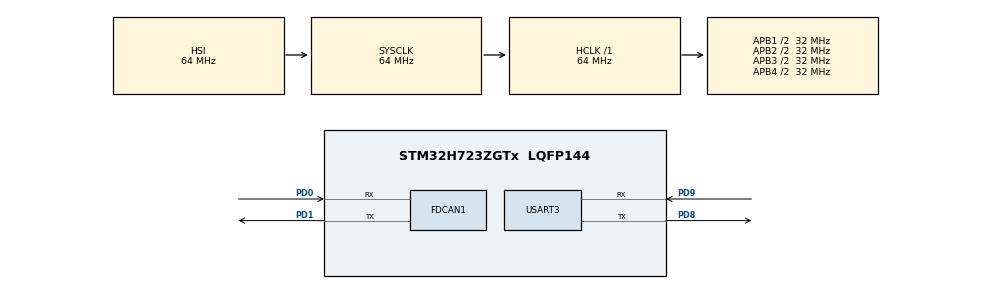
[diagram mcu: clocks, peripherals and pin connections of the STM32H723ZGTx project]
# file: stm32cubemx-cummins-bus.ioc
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Mcu.Family=STM32H7
Mcu.Name=STM32H723ZGTx
Mcu.Package=LQFP144
NVIC.FDCAN1_IT0_IRQn=true\:0\:0\:false\:false\:true\:true\:true
NVIC.PriorityGroup=NVIC_PRIORITYGROUP_4
PD0.Mode=FDCAN_Activate
PD0.Signal=FDCAN1_RX
PD1.Mode=FDCAN_Activate
PD1.Signal=FDCAN1_TX
PD8.Mode=Asynchronous
PD8.Signal=USART3_TX
PD9.Mode=Asynchronous
PD9.Signal=USART3_RX
ProjectManager.HeapSize=0x200
ProjectManager.StackSize=0x400
ProjectManager.TargetToolchain=STM32CubeIDE
RCC.ADCFreq_Value=129000000
RCC.APB1Freq_Value=32000000
RCC.APB2Freq_Value=32000000
RCC.APB3Freq_Value=32000000
RCC.APB4Freq_Value=32000000
RCC.CortexFreq_Value=64000000
RCC.D1PPRE=RCC_APB3_DIV2
RCC.D2PPRE1=RCC_APB1_DIV2
RCC.D2PPRE2=RCC_APB2_DIV2
RCC.D3PPRE=RCC_APB4_DIV2
RCC.DIVM1=4
RCC.DIVN1=12
RCC.DIVQ1=4
RCC.HCLKFreq_Value=64000000
RCC.PLLFRACN=0
RCC.SYSCLKFreq_VALUE=64000000
RCC.USBFreq_Value=48000000
USART3.VirtualMode-Asynchronous=VM_ASYNC
board=custom

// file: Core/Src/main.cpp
/* USER CODE BEGIN Header */
/**
  ******************************************************************************
  * @file           : main.c
  * @brief          : Main program body
  ******************************************************************************
  * @attention
  *
  * Copyright (c) 2021 STMicroelectronics.
  * All rights reserved.
  *
  * This software is licensed under terms that can be found in the LICENSE file
  * in the root directory of this software component.
  * If no LICENSE file comes with this software, it is provided AS-IS.
  *
  ******************************************************************************
  */
/* USER CODE END Header */
#include "main.h"

/* USER CODE BEGIN Includes */
#include "../Inc/display/Console.h"
#include "../Inc/data/CanMessage.h"
#include <string>
#include <iostream>
#include <sstream>
/* USER CODE END Includes */

FDCAN_HandleTypeDef hfdcan1;
UART_HandleTypeDef huart3;

/* USER CODE BEGIN PV */

FDCAN_RxHeaderTypeDef RxHeader;
uint8_t RxData[16];

CanMessage tempMessage(0x7E8);
/* USER CODE END PV */

void SystemClock_Config(void);
static void MX_GPIO_Init(void);
static void MX_USART3_UART_Init(void);
static void MX_FDCAN1_Init(void);

int main(void)
{

  /* MCU Configuration--------------------------------------------------------*/

  /* Reset of all peripherals, Initializes the Flash interface and the Systick. */
  HAL_Init();

  /* Configure the system clock */
  SystemClock_Config();

  /* Initialize all configured peripherals */
  MX_GPIO_Init();
  MX_USART3_UART_Init();
  MX_FDCAN1_Init();
  /* USER CODE BEGIN 2 */
  if (HAL_FDCAN_ActivateNotification(&hfdcan1, FDCAN_IT_RX_FIFO0_NEW_MESSAGE, 0) != HAL_OK) {
      Error_Handler();
  }
    /* Start the FDCAN module on both FDCAN instances */
    if (HAL_FDCAN_Start(&hfdcan1) != HAL_OK)
    {
        Error_Handler();
    }
  /* USER CODE END 2 */

  /* Infinite loop */
  /* USER CODE BEGIN WHILE */
//  Console::consoleUart = huart3;
    Console::setUart(huart3);
    long long count = 0;
    auto startTime = HAL_GetTick();
    uint32_t currentTime;
#pragma clang diagnostic push
#pragma ide diagnostic ignored "EndlessLoop"
  while (true)
  {
      currentTime = HAL_GetTick();
      count++;
      if (count % 1000000 == 0) {
          Console::logln("Hi: " + std::to_string(count / (currentTime - startTime)));

          std::ostringstream sstream;
          std::string str;
          for (int i: RxData) {
              str += std::to_string(i);
              str += " ";

              sstream << "0x" << std::hex << i << " ";
          }
          Console::logln(str);
          std::string IdTypeString = RxHeader.IdType == FDCAN_STANDARD_ID ? "Standard ID" : "Extended ID";
          Console::log(IdTypeString + " ");
          std::string IdFrameTypeString = RxHeader.RxFrameType == FDCAN_DATA_FRAME ? "Data Frame" : "Remote Request Frame";
          Console::log(IdFrameTypeString + " ");
          std::string IdFrameFormatString = RxHeader.FDFormat == FDCAN_DATA_FRAME ? "Classic CAN" : "FD CAN";
          Console::log(IdFrameFormatString + " ");
          Console::logln(sstream.str());

          Console::log(tempMessage.canId.to_int_string());
          Console::log(" ");
          Console::log(tempMessage.canId.to_hex_string());
          Console::log(" ");
          Console::logln(sstream.str());
      }
//      HAL_Delay(500);
//      HAL_UART_Transmit(&huart3, uint8_t [50, 60], 3, 100);
    /* USER CODE END WHILE */

    /* USER CODE BEGIN 3 */
  }
#pragma clang diagnostic pop
  /* USER CODE END 3 */
}

/**
  * @brief  Rx FIFO 0 callback.
  * @param  hfdcan pointer to an FDCAN_HandleTypeDef structure that contains
  *         the configuration information for the specified FDCAN.
  * @param  RxFifo0ITs indicates which Rx FIFO 0 interrupts are signaled.
  *         This parameter can be any combination of @arg FDCAN_Rx_Fifo0_Interrupts.
  * @retval None
  */
void HAL_FDCAN_RxFifo0Callback(FDCAN_HandleTypeDef *hfdcan, uint32_t RxFifo0ITs)
{
    if((RxFifo0ITs & FDCAN_IT_RX_FIFO0_NEW_MESSAGE) != 0)
    {
        /* Retrieve Rx messages from RX FIFO0 */
        if (HAL_FDCAN_GetRxMessage(hfdcan, FDCAN_RX_FIFO0, &RxHeader, RxData) != HAL_OK)
        {
            Error_Handler();
        }

        std::string str;
        for (int i: RxData) {
            str += std::to_string(i);
            str += " ";
        }
        Console::logln(str);
    }
}

void SystemClock_Config(void)
{
    RCC_OscInitTypeDef RCC_OscInitStruct = {0};
    RCC_ClkInitTypeDef RCC_ClkInitStruct = {0};

    /** Supply configuration update enable
    */
    HAL_PWREx_ConfigSupply(PWR_LDO_SUPPLY);
    /** Configure the main internal regulator output voltage
    */
    __HAL_PWR_VOLTAGESCALING_CONFIG(PWR_REGULATOR_VOLTAGE_SCALE3);

    while(!__HAL_PWR_GET_FLAG(PWR_FLAG_VOSRDY)) {}
    /** Initializes the RCC Oscillators according to the specified parameters
    * in the RCC_OscInitTypeDef structure.
    */
    RCC_OscInitStruct.OscillatorType = RCC_OSCILLATORTYPE_HSI;
    RCC_OscInitStruct.HSIState = RCC_HSI_DIV1;
    RCC_OscInitStruct.HSICalibrationValue = RCC_HSICALIBRATION_DEFAULT;
    RCC_OscInitStruct.PLL.PLLState = RCC_PLL_ON;
    RCC_OscInitStruct.PLL.PLLSource = RCC_PLLSOURCE_HSI;
    RCC_OscInitStruct.PLL.PLLM = 4;
    RCC_OscInitStruct.PLL.PLLN = 12;
    RCC_OscInitStruct.PLL.PLLP = 2;
    RCC_OscInitStruct.PLL.PLLQ = 4;
    RCC_OscInitStruct.PLL.PLLR = 2;
    RCC_OscInitStruct.PLL.PLLRGE = RCC_PLL1VCIRANGE_3;
    RCC_OscInitStruct.PLL.PLLVCOSEL = RCC_PLL1VCOWIDE;
    RCC_OscInitStruct.PLL.PLLFRACN = 0;
    if (HAL_RCC_OscConfig(&RCC_OscInitStruct) != HAL_OK)
    {
        Error_Handler();
    }
    /** Initializes the CPU, AHB and APB buses clocks
    */
    RCC_ClkInitStruct.ClockType = RCC_CLOCKTYPE_HCLK|RCC_CLOCKTYPE_SYSCLK
                                  |RCC_CLOCKTYPE_PCLK1|RCC_CLOCKTYPE_PCLK2
                                  |RCC_CLOCKTYPE_D3PCLK1|RCC_CLOCKTYPE_D1PCLK1;
    RCC_ClkInitStruct.SYSCLKSource = RCC_SYSCLKSOURCE_HSI;
    RCC_ClkInitStruct.SYSCLKDivider = RCC_SYSCLK_DIV1;
    RCC_ClkInitStruct.AHBCLKDivider = RCC_HCLK_DIV1;
    RCC_ClkInitStruct.APB3CLKDivider = RCC_APB3_DIV2;
    RCC_ClkInitStruct.APB1CLKDivider = RCC_APB1_DIV2;
    RCC_ClkInitStruct.APB2CLKDivider = RCC_APB2_DIV2;
    RCC_ClkInitStruct.APB4CLKDivider = RCC_APB4_DIV2;

    if (HAL_RCC_ClockConfig(&RCC_ClkInitStruct, FLASH_LATENCY_1) != HAL_OK)
    {
        Error_Handler();
    }
}

static void MX_FDCAN1_Init(void)
{

    hfdcan1.Instance = FDCAN1;
    hfdcan1.Init.FrameFormat = FDCAN_FRAME_CLASSIC;
    hfdcan1.Init.Mode = FDCAN_MODE_NORMAL;
    hfdcan1.Init.AutoRetransmission = DISABLE;
    hfdcan1.Init.TransmitPause = DISABLE;
    hfdcan1.Init.ProtocolException = DISABLE;
    hfdcan1.Init.NominalPrescaler = 1;
    hfdcan1.Init.NominalSyncJumpWidth = 1;
    hfdcan1.Init.NominalTimeSeg1 = 2;
    hfdcan1.Init.NominalTimeSeg2 = 2;
    hfdcan1.Init.DataPrescaler = 1;
    hfdcan1.Init.DataSyncJumpWidth = 1;
    hfdcan1.Init.DataTimeSeg1 = 1;
    hfdcan1.Init.DataTimeSeg2 = 1;
    hfdcan1.Init.MessageRAMOffset = 0;
    hfdcan1.Init.StdFiltersNbr = 0;
    hfdcan1.Init.ExtFiltersNbr = 0;
    hfdcan1.Init.RxFifo0ElmtsNbr = 0;
    hfdcan1.Init.RxFifo0ElmtSize = FDCAN_DATA_BYTES_8;
    hfdcan1.Init.RxFifo1ElmtsNbr = 0;
    hfdcan1.Init.RxFifo1ElmtSize = FDCAN_DATA_BYTES_8;
    hfdcan1.Init.RxBuffersNbr = 0;
    hfdcan1.Init.RxBufferSize = FDCAN_DATA_BYTES_8;
    hfdcan1.Init.TxEventsNbr = 0;
    hfdcan1.Init.TxBuffersNbr = 0;
    hfdcan1.Init.TxFifoQueueElmtsNbr = 0;
    hfdcan1.Init.TxFifoQueueMode = FDCAN_TX_FIFO_OPERATION;
    hfdcan1.Init.TxElmtSize = FDCAN_DATA_BYTES_8;
    if (HAL_FDCAN_Init(&hfdcan1) != HAL_OK)
    {
        Error_Handler();
    }

}

static void MX_USART3_UART_Init(void)
{

  huart3.Instance = USART3;
  huart3.Init.BaudRate = 115200;
  huart3.Init.WordLength = UART_WORDLENGTH_8B;
  huart3.Init.StopBits = UART_STOPBITS_1;
  huart3.Init.Parity = UART_PARITY_NONE;
  huart3.Init.Mode = UART_MODE_TX_RX;
  huart3.Init.HwFlowCtl = UART_HWCONTROL_NONE;
  huart3.Init.OverSampling = UART_OVERSAMPLING_16;
  huart3.Init.OneBitSampling = UART_ONE_BIT_SAMPLE_DISABLE;
  huart3.Init.ClockPrescaler = UART_PRESCALER_DIV1;
  huart3.AdvancedInit.AdvFeatureInit = UART_ADVFEATURE_NO_INIT;
  if (HAL_UART_Init(&huart3) != HAL_OK)
  {
    Error_Handler();
  }
  if (HAL_UARTEx_SetTxFifoThreshold(&huart3, UART_TXFIFO_THRESHOLD_1_8) != HAL_OK)
  {
    Error_Handler();
  }
  if (HAL_UARTEx_SetRxFifoThreshold(&huart3, UART_RXFIFO_THRESHOLD_1_8) != HAL_OK)
  {
    Error_Handler();
  }
  if (HAL_UARTEx_DisableFifoMode(&huart3) != HAL_OK)
  {
    Error_Handler();
  }

}

static void MX_GPIO_Init(void)
{

  /* GPIO Ports Clock Enable */
  __HAL_RCC_GPIOD_CLK_ENABLE();

}

void Error_Handler(void)
{
  __disable_irq();
  while (1)
  {
  }
}
